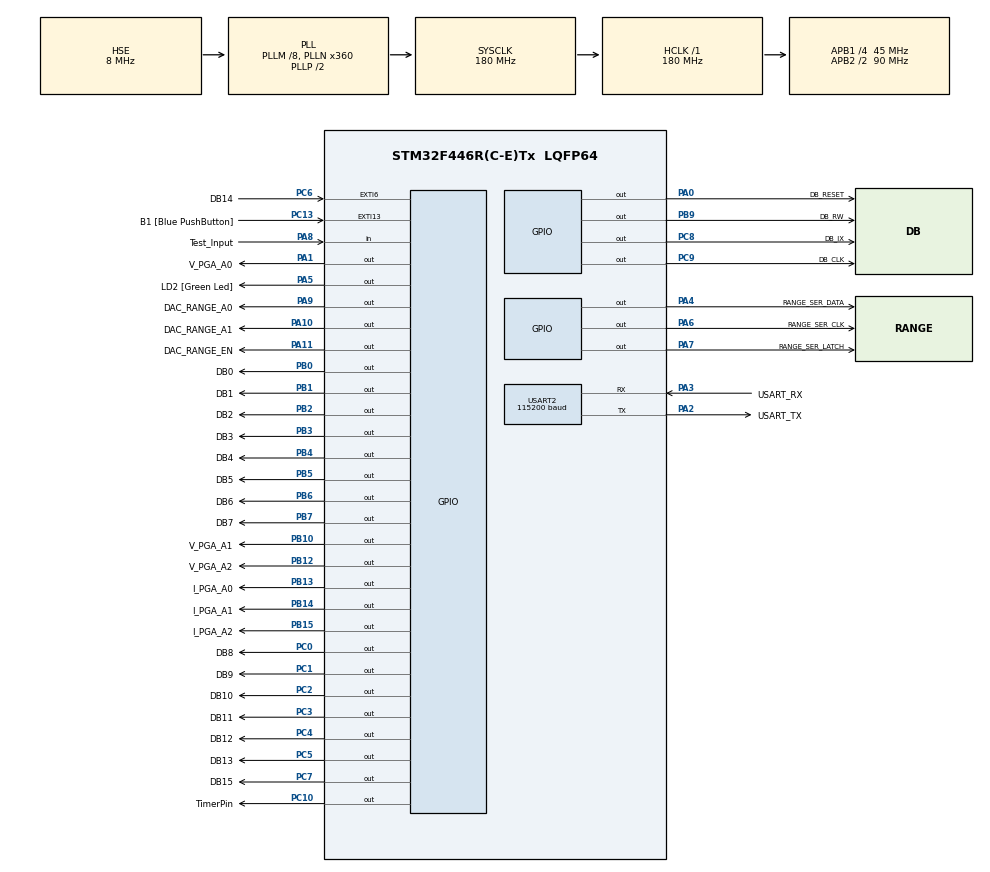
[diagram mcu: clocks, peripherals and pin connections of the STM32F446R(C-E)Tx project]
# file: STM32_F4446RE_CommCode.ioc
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Mcu.Family=STM32F4
Mcu.Name=STM32F446R(C-E)Tx
Mcu.Package=LQFP64
NVIC.PriorityGroup=NVIC_PRIORITYGROUP_0
PA0-WKUP.GPIO_Label=DB_RESET
PA0-WKUP.Signal=GPIO_Output
PA1.GPIO_Label=V_PGA_A0
PA1.Signal=GPIO_Output
PA10.GPIO_Label=DAC_RANGE_A1
PA10.PinState=GPIO_PIN_SET
PA10.Signal=GPIO_Output
PA11.GPIO_Label=DAC_RANGE_EN
PA11.PinState=GPIO_PIN_SET
PA11.Signal=GPIO_Output
PA13.GPIO_Label=TMS
PA13.Mode=Serial_Wire
PA13.Signal=SYS_JTMS-SWDIO
PA14.GPIO_Label=TCK
PA14.Mode=Serial_Wire
PA14.Signal=SYS_JTCK-SWCLK
PA2.GPIO_Label=USART_TX
PA2.Mode=Asynchronous
PA2.Signal=USART2_TX
PA3.GPIO_Label=USART_RX
PA3.Mode=Asynchronous
PA3.Signal=USART2_RX
PA4.GPIO_Label=RANGE_SER_DATA
PA4.Signal=GPIO_Output
PA5.GPIO_Label=LD2 [Green Led]
PA5.Signal=GPIO_Output
PA6.GPIO_Label=RANGE_SER_CLK
PA6.Signal=GPIO_Output
PA7.GPIO_Label=RANGE_SER_LATCH
PA7.Signal=GPIO_Output
PA8.GPIO_Label=Test_Input
PA8.Signal=GPIO_Input
PA9.GPIO_Label=DAC_RANGE_A0
PA9.PinState=GPIO_PIN_SET
PA9.Signal=GPIO_Output
PB0.GPIO_Label=DB0
PB0.GPIO_Speed=GPIO_SPEED_FREQ_VERY_HIGH
PB0.PinState=GPIO_PIN_RESET
PB0.Signal=GPIO_Output
PB1.GPIO_Label=DB1
PB1.Signal=GPIO_Output
PB10.GPIO_Label=V_PGA_A1
PB10.Signal=GPIO_Output
PB12.GPIO_Label=V_PGA_A2
PB12.Signal=GPIO_Output
PB13.GPIO_Label=I_PGA_A0
PB13.Signal=GPIO_Output
PB14.GPIO_Label=I_PGA_A1
PB14.Signal=GPIO_Output
PB15.GPIO_Label=I_PGA_A2
PB15.Signal=GPIO_Output
PB2.GPIO_Label=DB2
PB2.Signal=GPIO_Output
PB3.GPIO_Label=DB3
PB3.Signal=GPIO_Output
PB4.GPIO_Label=DB4
PB4.Signal=GPIO_Output
PB5.GPIO_Label=DB5
PB5.Signal=GPIO_Output
PB6.GPIO_Label=DB6
PB6.Signal=GPIO_Output
PB7.GPIO_Label=DB7
PB7.Signal=GPIO_Output
PB9.GPIO_Label=DB_RW
PB9.Signal=GPIO_Output
PC0.GPIO_Label=DB8
PC0.Signal=GPIO_Output
PC1.GPIO_Label=DB9
PC1.Signal=GPIO_Output
PC10.GPIO_Label=TimerPin
PC10.Signal=GPIO_Output
PC13.GPIO_Label=B1 [Blue PushButton]
PC13.GPIO_ModeDefaultEXTI=GPIO_MODE_IT_FALLING
PC13.Signal=GPXTI13
PC14-OSC32_IN.Mode=LSE-External-Oscillator
PC14-OSC32_IN.Signal=RCC_OSC32_IN
PC15-OSC32_OUT.Mode=LSE-External-Oscillator
PC15-OSC32_OUT.Signal=RCC_OSC32_OUT
PC2.GPIO_Label=DB10
PC2.Signal=GPIO_Output
PC3.GPIO_Label=DB11
PC3.Signal=GPIO_Output
PC4.GPIO_Label=DB12
PC4.Signal=GPIO_Output
PC5.GPIO_Label=DB13
PC5.Signal=GPIO_Output
PC6.GPIO_Label=DB14
PC6.Signal=GPXTI6
PC7.GPIO_Label=DB15
PC7.Signal=GPIO_Output
PC8.GPIO_Label=DB_IX
PC8.Signal=GPIO_Output
PC9.GPIO_Label=DB_CLK
PC9.Signal=GPIO_Output
PH0-OSC_IN.Mode=HSE-External-Oscillator
PH0-OSC_IN.Signal=RCC_OSC_IN
PH1-OSC_OUT.Mode=HSE-External-Oscillator
PH1-OSC_OUT.Signal=RCC_OSC_OUT
ProjectManager.HeapSize=0x200
ProjectManager.StackSize=0x400
ProjectManager.TargetToolchain=STM32CubeIDE
RCC.48MHZClocksFreq_Value=84000000
RCC.AHBFreq_Value=180000000
RCC.APB1CLKDivider=RCC_HCLK_DIV4
RCC.APB1Freq_Value=45000000
RCC.APB1TimFreq_Value=90000000
RCC.APB2CLKDivider=RCC_HCLK_DIV2
RCC.APB2Freq_Value=90000000
RCC.APB2TimFreq_Value=180000000
RCC.CortexFreq_Value=180000000
RCC.FLatency-AdvancedSettings=FLASH_LATENCY_5
RCC.HCLKFreq_Value=180000000
RCC.HSE_VALUE=8000000
RCC.HSI_VALUE=16000000
RCC.PLLM=8
RCC.PLLN=360
RCC.PLLSourceVirtual=RCC_PLLSOURCE_HSE
RCC.SYSCLKFreq_VALUE=180000000
RCC.SYSCLKSource=RCC_SYSCLKSOURCE_PLLCLK
RCC.USBFreq_Value=180000000
RCC.VCOOutputFreq_Value=360000000
USART2.BaudRate=115200
USART2.VirtualMode=VM_ASYNC
board=NUCLEO-F446RE

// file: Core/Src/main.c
/* USER CODE BEGIN Header */
/**
  ******************************************************************************
  * @file           : main.c
  * @brief          : Main program body
  ******************************************************************************
  * @attention
  *
  * Copyright (c) 2024 STMicroelectronics.
  * All rights reserved.
  *
  * This software is licensed under terms that can be found in the LICENSE file
  * in the root directory of this software component.
  * If no LICENSE file comes with this software, it is provided AS-IS.
  *
  ******************************************************************************
  */
/* USER CODE END Header */
#include "main.h"

/* USER CODE BEGIN Includes */

//Declares specific modes, here we can either read or write.
//Enum is essentially a special type that represents a group of constants,
//Here the IOMode can take two constants, either READ or WRITE.

#include <string.h>
#include <stdio.h>

enum IOMode{
	READ = 0,
	WRITE = 1
};
enum bool{
	FALSE,
	TRUE
};
enum IXMode{
	INTERNAL,
	EXTERNAL
};

int8_t SetGPIOMode(enum IOMode mode);
int8_t SetIOValue(uint16_t IOvalue);
int8_t GetIOValue(uint16_t *result);
int8_t SetRnW(enum IOMode mode);
int8_t SetCLK(enum bool state);
int8_t PulseCLK(void);
int8_t ResetComm(void);
int8_t WriteData(uint16_t data, uint16_t addr);
int8_t FetchData(uint16_t *result, uint16_t addr);
int8_t SetIXMode(enum IXMode);

void ns_delay(uint16_t);
//int8_t SetupCLK_RnW(void);
struct CommunicationPort{
	struct Control{
		struct CommunicationPort *selfAddr;
		uint16_t LowBytePins[8];
		GPIO_TypeDef *LowBytePort;
		uint16_t HighBytePins[8];
		GPIO_TypeDef *HighBytePort;
		uint16_t RWPin, CLKPin, IXPin;
		GPIO_TypeDef *RWport, *CLKport, *IXport;
		enum IOMode CurrentMode;
		enum IXMode CurrentIXMode;
	}ctrl;
	struct Set{
		int8_t (*SetIOMode)(enum IOMode);
		int8_t (*SetIOValue)(uint16_t);
		int8_t (*GetIOValue)(uint16_t*);
		int8_t (*SetRnW)(enum IOMode);
		int8_t (*SetCLK)(enum bool);
		int8_t (*PulseCLK)(void);
		int8_t (*SetIXMode)(enum IXMode);
	}set;
	int8_t (*ResetComm)(void);
	int8_t (*WriteData)(uint16_t, uint16_t);
	int8_t (*FetchData)(uint16_t*, uint16_t);

}CommPort;

/* USER CODE END Includes */

UART_HandleTypeDef huart2;

void SystemClock_Config(void);
static void MX_GPIO_Init(void);
static void MX_USART2_UART_Init(void);

/* USER CODE BEGIN 0 */
uint8_t test = 0;

/*SetGPIOMode() - Sets all LowBytePort, HighBytePort pins to Input or Output*/
int8_t SetGPIOMode(enum IOMode mode){
	struct CommunicationPort *cp = CommPort.ctrl.selfAddr;
	static GPIO_InitTypeDef GPIO_InitStruct_HighByte = {0};
	static GPIO_InitTypeDef GPIO_InitStruct_LowByte = {0};
	int8_t status = 1;
	if(cp != NULL){
		switch (mode){
		case READ: /*Set all I/O to Read mode*/
			for(uint8_t i = 0; i < 8; i++){
			/*Load pins*/
			GPIO_InitStruct_HighByte.Pin |= cp->ctrl.HighBytePins[i];
			GPIO_InitStruct_LowByte.Pin |= cp->ctrl.LowBytePins[i];
			}
			//GPIO_InitStruct_HighByte.Pin &= 0b0000000011111111;
			//GPIO_InitStruct_LowByte.Pin &= 0b0000000011111111;
			/*Set pins mode*/
			GPIO_InitStruct_HighByte.Mode = GPIO_MODE_INPUT;
			GPIO_InitStruct_LowByte.Mode = GPIO_MODE_INPUT;
			GPIO_InitStruct_HighByte.Pull = GPIO_PULLUP;
			GPIO_InitStruct_LowByte.Pull = GPIO_PULLUP;
			cp->ctrl.CurrentMode = READ;
			break;
		case WRITE: /*Set all I/O to Output mode*/
			for(uint8_t i = 0; i < 8; i++){
				/*Load pins*/
				GPIO_InitStruct_HighByte.Pin |= cp->ctrl.HighBytePins[i];
				GPIO_InitStruct_LowByte.Pin |= cp->ctrl.LowBytePins[i];
			}
			//GPIO_InitStruct_HighByte.Pin &= 0b0000000011111111;
			//GPIO_InitStruct_LowByte.Pin &= 0b0000000011111111;
			GPIO_InitStruct_HighByte.Mode = GPIO_MODE_OUTPUT_OD;
			GPIO_InitStruct_HighByte.Pull = GPIO_PULLUP;
			GPIO_InitStruct_HighByte.Speed = GPIO_SPEED_FREQ_LOW;
			GPIO_InitStruct_LowByte.Mode = GPIO_MODE_OUTPUT_OD;
			GPIO_InitStruct_LowByte.Pull = GPIO_PULLUP;
			GPIO_InitStruct_LowByte.Speed = GPIO_SPEED_FREQ_LOW;
			cp->ctrl.CurrentMode = WRITE;
			break;
		}

	/*Change settings..*/
	HAL_GPIO_Init(cp->ctrl.LowBytePort, &GPIO_InitStruct_LowByte);
	HAL_GPIO_Init(cp->ctrl.HighBytePort, &GPIO_InitStruct_HighByte);
	}else{
		status = -1;
	}
	return status;
};
int8_t SetIOValue(uint16_t IOvalue){
	struct CommunicationPort *cp = CommPort.ctrl.selfAddr;
	int8_t status = 1;
	if(cp != NULL) {
		uint16_t lowByte = 0;
		uint16_t highByte = 0;
		//split IOValue into two.
//		lowByte = IOvalue & 0xFF;
//		highByte = (IOvalue >> 8) & 0xFF;
		/*Ensure that the new value to the high and low byte ports do not change what is
		already on the port, i.e. only the 8 LSB of a port is used, we do not want to change
		values of bit 8-15. */
		lowByte = ((cp->ctrl.LowBytePort -> ODR)&0xFF00)|(IOvalue&0xFF);
		highByte = ((cp->ctrl.HighBytePort -> ODR)&0xFF00)|((IOvalue>>8)&0xFF);
		if((cp->ctrl.LowBytePort == GPIOB) && cp->ctrl.HighBytePort == GPIOC){
			GPIOB->ODR = lowByte;
			GPIOC->ODR = highByte;
		}else{
			status = -2;
		}
	}else{
		status = -1;
	}
return status;
}

int8_t GetIOValue(uint16_t *result) {
	struct CommunicationPort *cp = CommPort.ctrl.selfAddr;
	int8_t status = 1;
	if (cp != NULL) {
		uint16_t readVal = 0;
		if ((cp -> ctrl.LowBytePort == GPIOB) && (cp -> ctrl.HighBytePort == GPIOC)) {
			readVal = ((GPIOC->IDR)&0xFF)<<8;
			readVal |= ((GPIOB->IDR)&0xFF);
			*result = readVal;
		} else {
			status = -2;
			*result = 0;
		}
	} else {
		status = -1;
	}
	return status;
}

int8_t SetRnW(enum IOMode mode) {
	struct CommunicationPort *cp = CommPort.ctrl.selfAddr;
	int8_t status = 1;
	if (cp != NULL) {
		if (mode == READ) {
			HAL_GPIO_WritePin(cp->ctrl.RWport, cp->ctrl.RWPin, TRUE);
		}
		else if (mode == WRITE) {
			HAL_GPIO_WritePin(cp->ctrl.RWport, cp->ctrl.RWPin, FALSE);
		}
		return(status);
	}
	else {
		status = -1;
		return(status);
	}
}

int8_t SetIXMode(enum IXMode mode) {
	struct CommunicationPort *cp = CommPort.ctrl.selfAddr;
	int8_t status = 1;
	if(cp != NULL) {
		if(mode == INTERNAL) {
			HAL_GPIO_WritePin(cp ->ctrl.IXport, cp ->ctrl.IXPin, INTERNAL);
		}
		else if(mode == EXTERNAL) {
			HAL_GPIO_WritePin(cp ->ctrl.IXport, cp ->ctrl.IXPin, EXTERNAL);
		}
		return(status);
	}
	else {
		status = -1;
		return(status);
	}
}

int8_t SetCLK(enum bool state) {
	struct CommunicationPort *cp = CommPort.ctrl.selfAddr;
	int8_t status = 1;
	if (cp != NULL) {
		if (state == TRUE) {
			HAL_GPIO_WritePin(cp->ctrl.CLKport, cp->ctrl.CLKPin, TRUE);
		}
		else if (state == FALSE) {
			HAL_GPIO_WritePin(cp->ctrl.CLKport, cp->ctrl.CLKPin, FALSE);
		}
		return(status);
	}
	else {
		status = -1;
		return(status);
	}
}

int8_t PulseCLK(void) {
	struct CommunicationPort *cp = CommPort.ctrl.selfAddr;
	int8_t status = 1;
	if (cp != NULL) {
		HAL_GPIO_WritePin(cp->ctrl.CLKport, cp->ctrl.CLKPin, FALSE);
		HAL_GPIO_WritePin(cp->ctrl.CLKport, cp->ctrl.CLKPin, TRUE);
		ns_delay(500);
		HAL_GPIO_WritePin(cp->ctrl.CLKport, cp->ctrl.CLKPin, FALSE);
		return(status);
	}
	else {
		status = -1;
		return(status);
	}
}

int8_t ResetComm(void) {
	struct CommunicationPort *cp = CommPort.ctrl.selfAddr;
	int8_t status = 1;
	if (cp != NULL) {
		CommPort.set.SetIXMode(INTERNAL);
		CommPort.set.SetRnW(WRITE);
		CommPort.set.PulseCLK();
		CommPort.set.SetRnW(READ);
		CommPort.set.PulseCLK();
		CommPort.set.PulseCLK();
		CommPort.set.PulseCLK();
		CommPort.set.PulseCLK();
		return(status);
	}
	else {
		status = -1;
		return(status);
	}
}

int8_t WriteData(uint16_t data, uint16_t addr) {
	struct CommunicationPort *cp = CommPort.ctrl.selfAddr;
	int8_t status = 1;
	if (cp != NULL) {
		CommPort.set.SetRnW(WRITE);
//		if (CommPort.ctrl.CurrentMode != WRITE) {
//
//		}
		CommPort.set.SetIOMode(WRITE);
		CommPort.set.SetIOValue(addr);
		ns_delay(500);
		CommPort.set.PulseCLK();
		ns_delay(500);
		CommPort.set.SetIOValue(data);
		ns_delay(500);
		CommPort.set.PulseCLK();
		return(status);
	}
	else {
		status = -1;
		return(status);
	}
}

int8_t FetchData(uint16_t *result, uint16_t addr) {
	struct CommunicationPort *cp = CommPort.ctrl.selfAddr;
	int8_t status = 1;
	if (cp != NULL) {
		uint16_t readVal = 0;
		CommPort.set.SetIOMode(WRITE);
		CommPort.set.SetRnW(WRITE);
		ns_delay(500);
		CommPort.set.SetIOValue(addr);
		ns_delay(500);
		CommPort.set.PulseCLK();
		ns_delay(500);
		CommPort.set.SetRnW(READ);
		CommPort.set.SetIOMode(READ);
		ns_delay(500);
		CommPort.set.PulseCLK();
		ns_delay(500);
		CommPort.set.GetIOValue(&readVal);
		*result = readVal;
		return(status);
	}
	else {
		status = -1;
		return(status);
	}
}

/*Creates delay of approx 285 ns + del_time ns delay, 75 ns resolution*/
void ns_delay(uint16_t del_time) {
	if (del_time != 0) {
		uint16_t count = del_time/75;
		for (uint16_t i = 0; i < count; i++) {
			asm("NOP");
		}
	}
}

//int8_t SetupCLK_RnW(void) {
//	struct CommunicationPort *cp = CommPort.ctrl.selfAddr;
//	int8_t status = 1;
//	if (cp != NULL) {
//
//	}
//}

/* USER CODE END 0 */

int main(void)
{

  /* USER CODE BEGIN 1 */

	CommPort.set.SetIOMode = SetGPIOMode;
	CommPort.set.SetIOValue = SetIOValue;
	CommPort.set.GetIOValue = GetIOValue;
	CommPort.set.SetRnW = SetRnW;
	CommPort.set.SetCLK = SetCLK;
	CommPort.set.SetIXMode = SetIXMode;
	CommPort.set.PulseCLK = PulseCLK;
	CommPort.ResetComm = ResetComm;
	CommPort.WriteData = WriteData;
	CommPort.FetchData = FetchData;
	CommPort.ctrl.selfAddr = &CommPort;
	CommPort.ctrl.RWPin = DB_RW_Pin;
	CommPort.ctrl.CLKPin = DB_CLK_Pin;
	CommPort.ctrl.LowBytePort = GPIOB;
	CommPort.ctrl.HighBytePort = GPIOC;
	CommPort.ctrl.RWport = GPIOB;
	CommPort.ctrl.CLKport = GPIOC;
	CommPort.ctrl.IXport = GPIOC;
	CommPort.ctrl.IXPin = DB_IX_Pin;
	CommPort.ctrl.LowBytePins[0] = DB0_Pin;
	CommPort.ctrl.LowBytePins[1] = DB1_Pin;
	CommPort.ctrl.LowBytePins[2] = DB2_Pin;
	CommPort.ctrl.LowBytePins[3] = DB3_Pin;
	CommPort.ctrl.LowBytePins[4] = DB4_Pin;
	CommPort.ctrl.LowBytePins[5] = DB5_Pin;
	CommPort.ctrl.LowBytePins[6] = DB6_Pin;
	CommPort.ctrl.LowBytePins[7] = DB7_Pin;
	CommPort.ctrl.HighBytePins[0] = DB8_Pin;
	CommPort.ctrl.HighBytePins[1] = DB9_Pin;
	CommPort.ctrl.HighBytePins[2] = DB10_Pin;
	CommPort.ctrl.HighBytePins[3] = DB11_Pin;
	CommPort.ctrl.HighBytePins[4] = DB12_Pin;
	CommPort.ctrl.HighBytePins[5] = DB13_Pin;
	CommPort.ctrl.HighBytePins[6] = DB14_Pin;
	CommPort.ctrl.HighBytePins[7] = DB15_Pin;

	uint8_t uartBuf[16];
	uint16_t testVar = 0;
	uint16_t testVar2 = 0;
	uint16_t test2Var = 0;
	uint16_t test2Var2 = 0;
	uint16_t f_sampleSize = 0;
	int16_t VMeas = 0;
	uint16_t IMeas = 0;
	char str[16];
	char strAddr[16];
	char fl_buf[100];
	float f_set = 1000000;
	float smpl_set = 100000;
	uint32_t f_word = (uint32_t)(f_set*214.748365);
	uint32_t smpl_word = (uint32_t)(f_set*214.748365);
	float AVG = 0;
  /* USER CODE END 1 */

  /* MCU Configuration--------------------------------------------------------*/

  /* Reset of all peripherals, Initializes the Flash interface and the Systick. */
  HAL_Init();

  /* Configure the system clock */
  SystemClock_Config();

  /* Initialize all configured peripherals */
  MX_GPIO_Init();
  MX_USART2_UART_Init();

  /* Infinite loop */
  /* USER CODE BEGIN WHILE */

CommPort.set.SetIXMode(INTERNAL);
HAL_Delay(10);
CommPort.ResetComm();

HAL_Delay(10);

CommPort.set.SetIXMode(INTERNAL);
HAL_Delay(1);
CommPort.set.SetRnW(WRITE);
CommPort.set.SetIOMode(WRITE);

HAL_GPIO_WritePin(GPIOA, DAC_RANGE_A0_Pin, 0);
HAL_GPIO_WritePin(GPIOA, DAC_RANGE_A1_Pin, 0);
HAL_GPIO_WritePin(GPIOA, DAC_RANGE_EN_Pin, 0);

HAL_GPIO_WritePin(GPIOA, V_PGA_A0_Pin, 1);
HAL_GPIO_WritePin(GPIOB, V_PGA_A1_Pin, 1);
HAL_GPIO_WritePin(GPIOB, V_PGA_A2_Pin, 1);

HAL_GPIO_WritePin(GPIOB, I_PGA_A0_Pin, 1);
HAL_GPIO_WritePin(GPIOB, I_PGA_A1_Pin, 0);
HAL_GPIO_WritePin(GPIOB, I_PGA_A2_Pin, 0);

f_sampleSize = 1000;
f_set = 50000;
smpl_set =1000000;

f_word = (uint32_t)(f_set*214.748365);
smpl_word = (uint32_t)(smpl_set*214.748365);
HAL_Delay(10);
CommPort.WriteData((f_word & 0xFFFF), 4);
HAL_Delay(10);
CommPort.WriteData(((f_word >> 16)), 5);
HAL_Delay(10);
CommPort.WriteData((smpl_word & 0xFFFF), 2);
HAL_Delay(10);
CommPort.WriteData(((smpl_word >> 16)), 3);
HAL_Delay(10);
CommPort.WriteData(f_sampleSize, 6);
HAL_Delay(10);

HAL_GPIO_WritePin(GPIOA, RANGE_SER_LATCH_Pin, 0);
for(int i = 0; i < 8; i++) {
	if(i == 5) {
		HAL_GPIO_WritePin(GPIOA, RANGE_SER_DATA_Pin, 1);
	}
	else {
		HAL_GPIO_WritePin(GPIOA, RANGE_SER_DATA_Pin, 0);
	}
	HAL_Delay(1);
	HAL_GPIO_WritePin(GPIOA, RANGE_SER_CLK_Pin, 1);
	HAL_Delay(1);
	HAL_GPIO_WritePin(GPIOA, RANGE_SER_CLK_Pin, 0);
	HAL_Delay(1);
}
HAL_GPIO_WritePin(GPIOA, RANGE_SER_LATCH_Pin, 1);
HAL_Delay(1);
HAL_GPIO_WritePin(GPIOA, RANGE_SER_LATCH_Pin, 0);

  while (1)
  {
	CommPort.ResetComm();
	CommPort.WriteData(0x8000, 7);
	HAL_Delay(500);
	CommPort.set.SetIOMode(READ);
	CommPort.set.SetRnW(READ);
	CommPort.set.SetIXMode(EXTERNAL);
	HAL_Delay(5);
		for(int i = 0; i< f_sampleSize; i++) {

		CommPort.set.PulseCLK();
		CommPort.set.GetIOValue(&testVar);
		//CommPort.set.PulseCLK();
//
		if((testVar) & (1<<16)) {
			VMeas = (testVar ^ 1<<16)*(-1);
		}
		else{
			VMeas = testVar;
		}
		VMeas*=-1;
		HAL_Delay(1);
		sprintf(str, "Voltage:");
		strcpy((char*)uartBuf, str);
		HAL_UART_Transmit(&huart2, uartBuf, strlen((char*)uartBuf), HAL_MAX_DELAY);
		sprintf(str, "%d", (VMeas));
		strcpy((char*)uartBuf, str);
		HAL_UART_Transmit(&huart2, uartBuf, strlen((char*)uartBuf), HAL_MAX_DELAY);

		sprintf(str, ",");
		strcpy((char*)uartBuf, str);
		HAL_UART_Transmit(&huart2, uartBuf, strlen((char*)uartBuf), HAL_MAX_DELAY);
		CommPort.set.PulseCLK();
		CommPort.set.GetIOValue(&testVar);
		//CommPort.set.PulseCLK();
//
		if((testVar) & (1<<16)) {
			VMeas = (testVar ^ 1<<16)*(-1);
		}
		else{
			VMeas = testVar;
		}
		HAL_Delay(1);
		sprintf(str, "Current:");
		strcpy((char*)uartBuf, str);
		HAL_UART_Transmit(&huart2, uartBuf, strlen((char*)uartBuf), HAL_MAX_DELAY);
		sprintf(str, "%d\r\n", (VMeas));
		strcpy((char*)uartBuf, str);
		HAL_UART_Transmit(&huart2, uartBuf, strlen((char*)uartBuf), HAL_MAX_DELAY);

		HAL_Delay(15);

	}

//	for(int i = 1; i < 1000; i++) {
//		f_set = i*1000;
//
//		f_word = (uint32_t)(f_set*214.748365);
//		CommPort.WriteData((f_word & 0xFFFF), 4);
//		CommPort.WriteData(((f_word >> 16)), 5);
//		HAL_Delay(4);
//	}
	HAL_Delay(250);

    /* USER CODE END WHILE */

  }
}

void SystemClock_Config(void)
{
  RCC_OscInitTypeDef RCC_OscInitStruct = {0};
  RCC_ClkInitTypeDef RCC_ClkInitStruct = {0};

  /** Configure the main internal regulator output voltage
  */
  __HAL_RCC_PWR_CLK_ENABLE();
  __HAL_PWR_VOLTAGESCALING_CONFIG(PWR_REGULATOR_VOLTAGE_SCALE1);

  /** Initializes the RCC Oscillators according to the specified parameters
  * in the RCC_OscInitTypeDef structure.
  */
  RCC_OscInitStruct.OscillatorType = RCC_OSCILLATORTYPE_HSE;
  RCC_OscInitStruct.HSEState = RCC_HSE_ON;
  RCC_OscInitStruct.PLL.PLLState = RCC_PLL_ON;
  RCC_OscInitStruct.PLL.PLLSource = RCC_PLLSOURCE_HSE;
  RCC_OscInitStruct.PLL.PLLM = 8;
  RCC_OscInitStruct.PLL.PLLN = 360;
  RCC_OscInitStruct.PLL.PLLP = RCC_PLLP_DIV2;
  RCC_OscInitStruct.PLL.PLLQ = 2;
  RCC_OscInitStruct.PLL.PLLR = 2;
  if (HAL_RCC_OscConfig(&RCC_OscInitStruct) != HAL_OK)
  {
    Error_Handler();
  }

  /** Activate the Over-Drive mode
  */
  if (HAL_PWREx_EnableOverDrive() != HAL_OK)
  {
    Error_Handler();
  }

  /** Initializes the CPU, AHB and APB buses clocks
  */
  RCC_ClkInitStruct.ClockType = RCC_CLOCKTYPE_HCLK|RCC_CLOCKTYPE_SYSCLK
                              |RCC_CLOCKTYPE_PCLK1|RCC_CLOCKTYPE_PCLK2;
  RCC_ClkInitStruct.SYSCLKSource = RCC_SYSCLKSOURCE_PLLCLK;
  RCC_ClkInitStruct.AHBCLKDivider = RCC_SYSCLK_DIV1;
  RCC_ClkInitStruct.APB1CLKDivider = RCC_HCLK_DIV4;
  RCC_ClkInitStruct.APB2CLKDivider = RCC_HCLK_DIV2;

  if (HAL_RCC_ClockConfig(&RCC_ClkInitStruct, FLASH_LATENCY_5) != HAL_OK)
  {
    Error_Handler();
  }
}

static void MX_USART2_UART_Init(void)
{

  huart2.Instance = USART2;
  huart2.Init.BaudRate = 2000000;
  huart2.Init.WordLength = UART_WORDLENGTH_8B;
  huart2.Init.StopBits = UART_STOPBITS_1;
  huart2.Init.Parity = UART_PARITY_NONE;
  huart2.Init.Mode = UART_MODE_TX_RX;
  huart2.Init.HwFlowCtl = UART_HWCONTROL_NONE;
  huart2.Init.OverSampling = UART_OVERSAMPLING_16;
  if (HAL_UART_Init(&huart2) != HAL_OK)
  {
    Error_Handler();
  }

}

static void MX_GPIO_Init(void)
{
  GPIO_InitTypeDef GPIO_InitStruct = {0};

  /* GPIO Ports Clock Enable */
  __HAL_RCC_GPIOC_CLK_ENABLE();
  __HAL_RCC_GPIOH_CLK_ENABLE();
  __HAL_RCC_GPIOA_CLK_ENABLE();
  __HAL_RCC_GPIOB_CLK_ENABLE();

  /*Configure GPIO pin Output Level */
  HAL_GPIO_WritePin(GPIOC, DB8_Pin|DB9_Pin|DB10_Pin|DB11_Pin
                          |DB12_Pin|DB13_Pin|DB15_Pin|DB_IX_Pin
                          |DB_CLK_Pin|TimerPin_Pin, GPIO_PIN_RESET);

  /*Configure GPIO pin Output Level */
  HAL_GPIO_WritePin(GPIOA, DB_RESET_Pin|V_PGA_A0_Pin|RANGE_SER_DATA_Pin|LD2_Pin
                          |RANGE_SER_CLK_Pin|RANGE_SER_LATCH_Pin, GPIO_PIN_RESET);

  /*Configure GPIO pin Output Level */
  HAL_GPIO_WritePin(GPIOB, DB0_Pin|DB1_Pin|DB2_Pin|V_PGA_A1_Pin
                          |V_PGA_A2_Pin|I_PGA_A0_Pin|I_PGA_A1_Pin|I_PGA_A2_Pin
                          |DB3_Pin|DB4_Pin|DB5_Pin|DB6_Pin
                          |DB7_Pin|DB_RW_Pin, GPIO_PIN_RESET);

  /*Configure GPIO pin Output Level */
  HAL_GPIO_WritePin(GPIOA, DAC_RANGE_A0_Pin|DAC_RANGE_A1_Pin|DAC_RANGE_EN_Pin, GPIO_PIN_SET);

  /*Configure GPIO pin : B1_Pin */
  GPIO_InitStruct.Pin = B1_Pin;
  GPIO_InitStruct.Mode = GPIO_MODE_IT_FALLING;
  GPIO_InitStruct.Pull = GPIO_NOPULL;
  HAL_GPIO_Init(B1_GPIO_Port, &GPIO_InitStruct);

  /*Configure GPIO pins : DB8_Pin DB9_Pin DB10_Pin DB11_Pin
                           DB12_Pin DB13_Pin DB15_Pin DB_IX_Pin
                           DB_CLK_Pin TimerPin_Pin */
  GPIO_InitStruct.Pin = DB8_Pin|DB9_Pin|DB10_Pin|DB11_Pin
                          |DB12_Pin|DB13_Pin|DB15_Pin|DB_IX_Pin
                          |DB_CLK_Pin|TimerPin_Pin;
  GPIO_InitStruct.Mode = GPIO_MODE_OUTPUT_PP;
  GPIO_InitStruct.Pull = GPIO_NOPULL;
  GPIO_InitStruct.Speed = GPIO_SPEED_FREQ_LOW;
  HAL_GPIO_Init(GPIOC, &GPIO_InitStruct);

  /*Configure GPIO pins : DB_RESET_Pin V_PGA_A0_Pin RANGE_SER_DATA_Pin LD2_Pin
                           RANGE_SER_CLK_Pin RANGE_SER_LATCH_Pin DAC_RANGE_A0_Pin DAC_RANGE_A1_Pin
                           DAC_RANGE_EN_Pin */
  GPIO_InitStruct.Pin = DB_RESET_Pin|V_PGA_A0_Pin|RANGE_SER_DATA_Pin|LD2_Pin
                          |RANGE_SER_CLK_Pin|RANGE_SER_LATCH_Pin|DAC_RANGE_A0_Pin|DAC_RANGE_A1_Pin
                          |DAC_RANGE_EN_Pin;
  GPIO_InitStruct.Mode = GPIO_MODE_OUTPUT_PP;
  GPIO_InitStruct.Pull = GPIO_NOPULL;
  GPIO_InitStruct.Speed = GPIO_SPEED_FREQ_LOW;
  HAL_GPIO_Init(GPIOA, &GPIO_InitStruct);

  /*Configure GPIO pin : DB0_Pin */
  GPIO_InitStruct.Pin = DB0_Pin;
  GPIO_InitStruct.Mode = GPIO_MODE_OUTPUT_PP;
  GPIO_InitStruct.Pull = GPIO_NOPULL;
  GPIO_InitStruct.Speed = GPIO_SPEED_FREQ_VERY_HIGH;
  HAL_GPIO_Init(DB0_GPIO_Port, &GPIO_InitStruct);

  /*Configure GPIO pins : DB1_Pin DB2_Pin V_PGA_A1_Pin V_PGA_A2_Pin
                           I_PGA_A0_Pin I_PGA_A1_Pin I_PGA_A2_Pin DB3_Pin
                           DB4_Pin DB5_Pin DB6_Pin DB7_Pin
                           DB_RW_Pin */
  GPIO_InitStruct.Pin = DB1_Pin|DB2_Pin|V_PGA_A1_Pin|V_PGA_A2_Pin
                          |I_PGA_A0_Pin|I_PGA_A1_Pin|I_PGA_A2_Pin|DB3_Pin
                          |DB4_Pin|DB5_Pin|DB6_Pin|DB7_Pin
                          |DB_RW_Pin;
  GPIO_InitStruct.Mode = GPIO_MODE_OUTPUT_PP;
  GPIO_InitStruct.Pull = GPIO_NOPULL;
  GPIO_InitStruct.Speed = GPIO_SPEED_FREQ_LOW;
  HAL_GPIO_Init(GPIOB, &GPIO_InitStruct);

  /*Configure GPIO pin : DB14_Pin */
  GPIO_InitStruct.Pin = DB14_Pin;
  GPIO_InitStruct.Mode = GPIO_MODE_IT_RISING;
  GPIO_InitStruct.Pull = GPIO_NOPULL;
  HAL_GPIO_Init(DB14_GPIO_Port, &GPIO_InitStruct);

  /*Configure GPIO pin : Test_Input_Pin */
  GPIO_InitStruct.Pin = Test_Input_Pin;
  GPIO_InitStruct.Mode = GPIO_MODE_INPUT;
  GPIO_InitStruct.Pull = GPIO_NOPULL;
  HAL_GPIO_Init(Test_Input_GPIO_Port, &GPIO_InitStruct);

}

void Error_Handler(void)
{
  __disable_irq();
  while (1)
  {
  }
}
